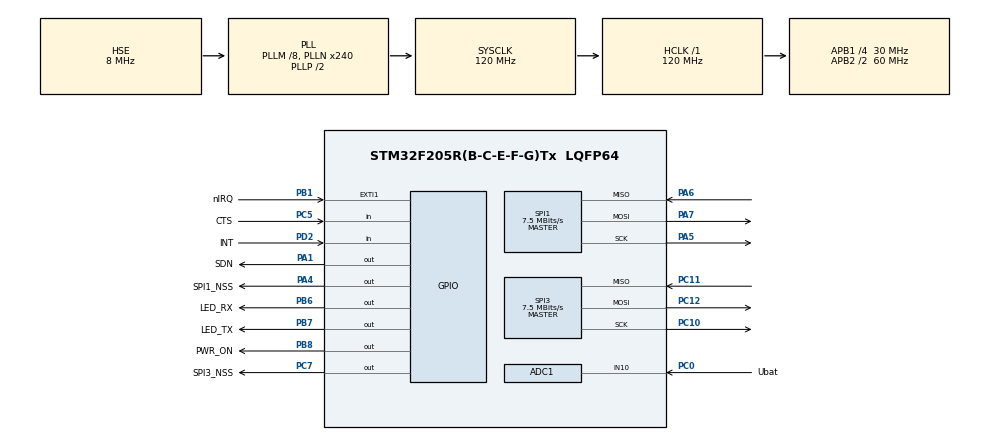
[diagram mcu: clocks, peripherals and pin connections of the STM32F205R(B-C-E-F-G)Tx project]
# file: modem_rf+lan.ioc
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ADC1.Channel-0\#ChannelRegularConversion=ADC_CHANNEL_10
ADC1.NbrOfConversionFlag=1
ADC1.Rank-0\#ChannelRegularConversion=1
ADC1.SamplingTime-0\#ChannelRegularConversion=ADC_SAMPLETIME_3CYCLES
ADC1.master=1
FREERTOS.Tasks01=defaultTask,0,128,StartDefaultTask,Default,NULL,Dynamic,NULL,NULL;Task_UdpTx,0,128,StartTask02,Default,NULL,Dynamic,NULL,NULL
Mcu.Family=STM32F2
Mcu.Name=STM32F205R(B-C-E-F-G)Tx
Mcu.Package=LQFP64
NVIC.EXTI1_IRQn=true\:1\:0\:true\:false\:true\:false\:true\:true
NVIC.PriorityGroup=NVIC_PRIORITYGROUP_4
NVIC.TIM3_IRQn=true\:0\:0\:false\:false\:true\:false\:false\:true
NVIC.TimeBase=TIM3_IRQn
NVIC.TimeBaseIP=TIM3
PA1.GPIO_Label=SDN
PA1.GPIO_Speed=GPIO_SPEED_FREQ_VERY_HIGH
PA1.Signal=GPIO_Output
PA13.Mode=Trace_Asynchronous_SW
PA13.Signal=SYS_JTMS-SWDIO
PA14.Mode=Trace_Asynchronous_SW
PA14.Signal=SYS_JTCK-SWCLK
PA4.GPIO_Label=SPI1_NSS
PA4.GPIO_Speed=GPIO_SPEED_FREQ_VERY_HIGH
PA4.Signal=GPIO_Output
PA5.Mode=Full_Duplex_Master
PA5.Signal=SPI1_SCK
PA6.Mode=Full_Duplex_Master
PA6.Signal=SPI1_MISO
PA7.Mode=Full_Duplex_Master
PA7.Signal=SPI1_MOSI
PB1.GPIO_Label=nIRQ
PB1.GPIO_ModeDefaultEXTI=GPIO_MODE_IT_FALLING
PB1.Signal=GPXTI1
PB3.Mode=Trace_Asynchronous_SW
PB3.Signal=SYS_JTDO-SWO
PB6.GPIO_Label=LED_RX
PB6.Signal=GPIO_Output
PB7.GPIO_Label=LED_TX
PB7.Signal=GPIO_Output
PB8.GPIO_Label=PWR_ON
PB8.GPIO_PuPd=GPIO_PULLUP
PB8.GPIO_Speed=GPIO_SPEED_FREQ_LOW
PB8.PinState=GPIO_PIN_SET
PB8.Signal=GPIO_Output
PC0.GPIO_Label=Ubat
PC0.Signal=ADCx_IN10
PC10.Mode=Full_Duplex_Master
PC10.Signal=SPI3_SCK
PC11.Mode=Full_Duplex_Master
PC11.Signal=SPI3_MISO
PC12.Mode=Full_Duplex_Master
PC12.Signal=SPI3_MOSI
PC5.GPIO_Label=CTS
PC5.Signal=GPIO_Input
PC7.GPIO_Label=SPI3_NSS
PC7.GPIO_Speed=GPIO_SPEED_FREQ_VERY_HIGH
PC7.Signal=GPIO_Output
PD2.GPIO_Label=INT
PD2.Signal=GPIO_Input
PH0-OSC_IN.Mode=HSE-External-Oscillator
PH0-OSC_IN.Signal=RCC_OSC_IN
PH1-OSC_OUT.Mode=HSE-External-Oscillator
PH1-OSC_OUT.Signal=RCC_OSC_OUT
ProjectManager.HeapSize=0x200
ProjectManager.StackSize=0x400
ProjectManager.TargetToolchain=SW4STM32
RCC.48MHZClocksFreq_Value=48000000
RCC.AHBFreq_Value=120000000
RCC.APB1CLKDivider=RCC_HCLK_DIV4
RCC.APB1Freq_Value=30000000
RCC.APB1TimFreq_Value=60000000
RCC.APB2CLKDivider=RCC_HCLK_DIV2
RCC.APB2Freq_Value=60000000
RCC.APB2TimFreq_Value=120000000
RCC.CortexFreq_Value=120000000
RCC.HCLKFreq_Value=120000000
RCC.HSE_VALUE=8000000
RCC.HSI_VALUE=16000000
RCC.LSE_VALUE=32768
RCC.PLLM=8
RCC.PLLN=240
RCC.PLLQ=5
RCC.PLLSourceVirtual=RCC_PLLSOURCE_HSE
RCC.SYSCLKFreq_VALUE=120000000
RCC.SYSCLKSource=RCC_SYSCLKSOURCE_PLLCLK
RCC.VCOOutputFreq_Value=240000000
SH.ADCx_IN10.0=ADC1_IN10,IN10
SPI1.BaudRatePrescaler=SPI_BAUDRATEPRESCALER_8
SPI1.CalculateBaudRate=7.5 MBits/s
SPI1.Direction=SPI_DIRECTION_2LINES
SPI1.Mode=SPI_MODE_MASTER
SPI1.VirtualType=VM_MASTER
SPI3.BaudRatePrescaler=SPI_BAUDRATEPRESCALER_4
SPI3.CalculateBaudRate=7.5 MBits/s
SPI3.Direction=SPI_DIRECTION_2LINES
SPI3.Mode=SPI_MODE_MASTER
SPI3.VirtualType=VM_MASTER
VP_FREERTOS_VS_CMSIS_V1.Mode=CMSIS_V1
VP_RNG_VS_RNG.Mode=RNG_Activate
VP_SYS_VS_tim3.Mode=TIM3
board=custom

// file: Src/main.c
/* USER CODE BEGIN Header */
/**
  ******************************************************************************
  * @file           : main.c
  * @brief          : Main program body
  ******************************************************************************
  * @attention
  *
  * <h2><center>&copy; Copyright (c) 2020 STMicroelectronics.
  * All rights reserved.</center></h2>
  *
  * This software component is licensed by ST under Ultimate Liberty license
  * SLA0044, the "License"; You may not use this file except in compliance with
  * the License. You may obtain a copy of the License at:
  *                             www.st.com/SLA0044
  *
  ******************************************************************************
  */
/* USER CODE END Header */

#include "main.h"
#include "cmsis_os.h"
#include "adc.h"
#include "rng.h"
#include "spi.h"
#include "gpio.h"

/* USER CODE BEGIN Includes */
#include <string.h>
#include <stdlib.h>
#include "stdio.h"

#include "si4463.h"
#include "enc28j60.h"
#include "lan.h"
#include "delay_dwt.h"
/* USER CODE END Includes */

/* USER CODE BEGIN PTD */

RNG_HandleTypeDef hrng;
si4463_t si4463;

/* USER CODE END PTD */

/* USER CODE BEGIN PV */
/* si4463 */
uint8_t incomingBuffer[RADIO_CONFIGURATION_DATA_RADIO_PACKET_LENGTH];
uint8_t outgoingBuffer[RADIO_CONFIGURATION_DATA_RADIO_PACKET_LENGTH];

int16_t curr_rssi = 0x00;
uint8_t check_module_flag = 0;

uint16_t length_packet = 0;

float c_temp = 0.0, v_bat = 0.0;

/* enc28j60 */
uint8_t send_buf[512];
uint8_t send_buf2[512];

uint16_t ADC_Val[2] = { 0 };
/* USER CODE END PV */

void SystemClock_Config(void);
void MX_FREERTOS_Init(void);

int main(void)
{

  /* MCU Configuration--------------------------------------------------------*/

  /* Reset of all peripherals, Initializes the Flash interface and the Systick. */
  HAL_Init();

  /* Configure the system clock */
  SystemClock_Config();

  /* USER CODE BEGIN SysInit */
  DWT_Init();

  /* USER CODE END SysInit */

  /* Initialize all configured peripherals */
  MX_GPIO_Init();
  MX_ADC1_Init();
  MX_RNG_Init();
  MX_SPI1_Init();
  MX_SPI3_Init();
  /* USER CODE BEGIN 2 */

  /* Assign functions */
  si4463.IsClearToSend = SI4463_IsCTS;
  si4463.WriteRead = SI4463_WriteRead;
  si4463.SPIRead = SI4463_SPIRead;
  si4463.SPITransmit = SI4463_SPITransmit;
  si4463.Select = SI4463_Select;
  si4463.Deselect = SI4463_Deselect;
  si4463.SetShutdown = SI4463_SetShutdown;
  si4463.ClearShutdown = SI4463_ClearShutdown;
  si4463.DelayMs = DWT_Delay_ms;
  si4463.DelayUs = DWT_Delay_us;

  /* Disable interrupt pin for init Si4463 */
  HAL_NVIC_DisableIRQ(EXTI1_IRQn);

  /* Check Device */
  SI4463_CheckModule();
  /* Init Si4463 with structure */
  SI4463_Init(&si4463);
  //SI4463_IrCal_Manual(&si4463, 1, 2);
  SI4463_SetTxPower(&si4463,PaPwr100mW);
  /* Clear RX FIFO before starting RX packets */
  SI4463_ClearRxFifo(&si4463);
  /* Start RX mode */
  SI4463_StartRx(&si4463, 0, false, false, false);
  /* Clear interrupts after enabling interrupt pin.
   * Without it may be situation when interrupt is asserted but pin not cleared.*/
  SI4463_ClearInterrupts(&si4463);
  /* Enable interrupt pin and */
  HAL_NVIC_EnableIRQ(EXTI1_IRQn);
  /* Initialize LAN */
  lan_init();

  /* USER CODE END 2 */

  /* Call init function for freertos objects (in freertos.c) */
  MX_FREERTOS_Init();
  /* Start scheduler */
  osKernelStart();

  /* We should never get here as control is now taken by the scheduler */
  /* Infinite loop */
  while (1)
  {

  }
}

void SystemClock_Config(void)
{
  RCC_OscInitTypeDef RCC_OscInitStruct = {0};
  RCC_ClkInitTypeDef RCC_ClkInitStruct = {0};

  /** Initializes the CPU, AHB and APB busses clocks
  */
  RCC_OscInitStruct.OscillatorType = RCC_OSCILLATORTYPE_HSE;
  RCC_OscInitStruct.HSEState = RCC_HSE_ON;
  RCC_OscInitStruct.PLL.PLLState = RCC_PLL_ON;
  RCC_OscInitStruct.PLL.PLLSource = RCC_PLLSOURCE_HSE;
  RCC_OscInitStruct.PLL.PLLM = 8;
  RCC_OscInitStruct.PLL.PLLN = 240;
  RCC_OscInitStruct.PLL.PLLP = RCC_PLLP_DIV2;
  RCC_OscInitStruct.PLL.PLLQ = 5;
  if (HAL_RCC_OscConfig(&RCC_OscInitStruct) != HAL_OK)
  {
    Error_Handler();
  }
  /** Initializes the CPU, AHB and APB busses clocks
  */
  RCC_ClkInitStruct.ClockType = RCC_CLOCKTYPE_HCLK|RCC_CLOCKTYPE_SYSCLK
                              |RCC_CLOCKTYPE_PCLK1|RCC_CLOCKTYPE_PCLK2;
  RCC_ClkInitStruct.SYSCLKSource = RCC_SYSCLKSOURCE_PLLCLK;
  RCC_ClkInitStruct.AHBCLKDivider = RCC_SYSCLK_DIV1;
  RCC_ClkInitStruct.APB1CLKDivider = RCC_HCLK_DIV4;
  RCC_ClkInitStruct.APB2CLKDivider = RCC_HCLK_DIV2;

  if (HAL_RCC_ClockConfig(&RCC_ClkInitStruct, FLASH_LATENCY_3) != HAL_OK)
  {
    Error_Handler();
  }
}

/* USER CODE BEGIN 4 */
void HAL_GPIO_EXTI_Callback(uint16_t GPIO_Pin)
{
  /* Prevent unused argument(s) compilation warning */
  UNUSED(GPIO_Pin);

  if(GPIO_Pin== GPIO_PIN_1)
  {

	  /* Clear incoming buffer */
	  memset(incomingBuffer, 0x00, RADIO_CONFIGURATION_DATA_RADIO_PACKET_LENGTH);

	  /* Get interrupts and work with it */
	  SI4463_GetInterrupts(&si4463);

	  /* Handling PH interrupts */
	  if (si4463.interrupts.filterMatch)
	  {
		  /* Handling this interrupt here */
		  /* Following instruction only for add breakpoints. May be deleted */
		  si4463.interrupts.filterMatch = false;
	  }
	  if (si4463.interrupts.filterMiss)
	  {
		  /* Handling this interrupt here */
		  /* Following instruction only for add breakpoints. May be deleted */
		  si4463.interrupts.filterMiss = false;
	  }
	  if (si4463.interrupts.packetSent)
	  {
		  /* Handling this interrupt here */
		  /* Clear TX FIFO */
		  SI4463_ClearTxFifo(&si4463);

		  /* Re-arm StartRX */
		  SI4463_StartRx(&si4463, 0, false, false,false);

		  /*Toggle led for indication*/
		  HAL_GPIO_WritePin(LED_TX_GPIO_Port,LED_TX_Pin,GPIO_PIN_SET);

		  /* Following instruction only for add breakpoints. May be deleted */
		  si4463.interrupts.packetSent = false;
	  }
	  if (si4463.interrupts.packetRx)
	  {
		 /* Handling this interrupt here */
		 /* Get FIFO data */
		 SI4463_ReadRxFifo(&si4463, incomingBuffer, RADIO_CONFIGURATION_DATA_RADIO_PACKET_LENGTH);

		 length_packet = SI4463_GetPacketInfo(&si4463,PKT_FIELD_2_LENGTH,63,0);
		 //SI4463_Get_PH_Status(&si4463, NOTHING);
		 send_to_udp(incomingBuffer,RADIO_CONFIGURATION_DATA_RADIO_PACKET_LENGTH,IP_ADDR_DEST);
		 /* Clear RX FIFO */
		 SI4463_ClearRxFifo(&si4463);
		 /* Start RX again.
		 * It need because after successful receive a packet the chip change
		 * state to READY.
		 * There is re-armed mode for StartRx but it not correctly working */
		 SI4463_StartRx(&si4463, 0, false, false, false);

		 HAL_GPIO_WritePin(LED_RX_GPIO_Port, LED_RX_Pin,GPIO_PIN_SET);

		 si4463.interrupts.packetRx = false;
	  }
	  if (si4463.interrupts.crcError)
	  {
		  /* Handling this interrupt here */

		  /* Following instruction only for add breakpoints. May be deleted */
		  si4463.interrupts.crcError = false;
	  }
	  if (si4463.interrupts.txFifoAlmostEmpty)
	  {
		  /* Handling this interrupt here */

		  /* Following instruction only for add breakpoints. May be deleted */
		  si4463.interrupts.txFifoAlmostEmpty = false;
	  }
	  if (si4463.interrupts.rxFifoAlmostFull)
	  {
		  /* Handling this interrupt here */

		  /* Following instruction only for add breakpoints. May be deleted */
		  si4463.interrupts.rxFifoAlmostFull = false;
	  }

	  /* Handling Modem interrupts */
	  if (si4463.interrupts.postambleDetect)
	  {
		  /* Handling this interrupt here */
		  /* Following instruction only for add breakpoints. May be deleted */
		  si4463.interrupts.postambleDetect = false;
	  }
	  if (si4463.interrupts.rssiJump)
	  {
		  /* Handling this interrupt here */
		  /* Following instruction only for add breakpoints. May be deleted */
		  si4463.interrupts.rssiJump = false;
	  }
	  if (si4463.interrupts.rssi)
	  {
		  /* Handling this interrupt here */
		  /* Following instruction only for add breakpoints. May be deleted */
		  si4463.interrupts.rssi = false;
	  }
	  if (si4463.interrupts.invalidPreamble)
	  {
		  /* Handling this interrupt here */
		  /* Following instruction only for add breakpoints. May be deleted */
		  si4463.interrupts.invalidPreamble = false;
	  }
	  if (si4463.interrupts.preambleDetect)
	  {
		  /* Handling this interrupt here */
		  /* Following instruction only for add breakpoints. May be deleted */
		  si4463.interrupts.preambleDetect = false;
	  }
	  if (si4463.interrupts.syncDetect)
	  {
		  /* Handling this interrupt here */
		  /* Following instruction only for add breakpoints. May be deleted */
		  si4463.interrupts.syncDetect = false;
	  }

	  if (si4463.interrupts.chipReady)
	  {
		  /* Handling this interrupt here */
		  SI4463_GetChipStatus(&si4463);
		  /* Following instruction only for add breakpoints. May be deleted */
		  si4463.interrupts.chipReady = false;
	  }
	  /* Clear All interrupts before exit */
	  SI4463_ClearAllInterrupts(&si4463);
  }

}

uint8_t SI4463_IsCTS(void)
{
	if((CTS_GPIO_Port->IDR & CTS_Pin) != (uint32_t)GPIO_PIN_RESET)
	{
		return 1;
	}
	else
	{
		return 0;
	}
}

void SI4463_WriteRead(const uint8_t * pTxData, uint8_t * pRxData, const uint16_t sizeTxData)
{
	HAL_SPI_TransmitReceive(&hspi1,(uint8_t*) pTxData, pRxData, sizeTxData, 100);
}

void SI4463_SPIRead(const uint8_t * pRxData, const uint16_t sizeRxData)
{
	HAL_SPI_Receive(&hspi1, (uint8_t*) pRxData, sizeRxData, 100);
}

void SI4463_SPITransmit(const uint8_t * pTxData, const uint16_t sizeTxData)
{
	HAL_SPI_Transmit(&hspi1, (uint8_t*) pTxData, sizeTxData, 100);
}

void SI4463_SetShutdown(void)
{
	HAL_GPIO_WritePin(SDN_GPIO_Port, SDN_Pin, GPIO_PIN_SET);
}

void SI4463_ClearShutdown(void)
{
	HAL_GPIO_WritePin(SDN_GPIO_Port, SDN_Pin, GPIO_PIN_RESET);
}

void SI4463_Select(void)
{
	SPI1_NSS_GPIO_Port->BSRR = (uint32_t)SPI1_NSS_Pin << 16U;
	DWT_Delay_us(10);
}

void SI4463_Deselect(void)
{
	SPI1_NSS_GPIO_Port->BSRR = SPI1_NSS_Pin;
	DWT_Delay_us(10);
}

uint16_t SI4463_CheckModule(void)
{
	uint8_t i;
	if(ADC_Get_Vbat() > 700) // if low battery
	{
		if(SI4463_CheckDevice(&si4463) == SI4463_OK)
		{
			for(i=0; i<6; i++)
			{
				HAL_GPIO_TogglePin(LED_TX_GPIO_Port,LED_TX_Pin);
				HAL_GPIO_TogglePin(LED_RX_GPIO_Port,LED_RX_Pin);
				DWT_Delay_ms(100);
			}
		}
		else
		{
			for(i=0; i<6; i++)
			{
				HAL_GPIO_TogglePin(LED_RX_GPIO_Port,LED_RX_Pin);
				DWT_Delay_ms(100);
			}
			return 0;
		}
	}
	else
	{
		check_module_flag |= (1<<7);
		for(i=0; i<60; i++)
		{
			if(0 != (check_module_flag & (1<<7)) )
			{
				HAL_GPIO_WritePin(LED_TX_GPIO_Port,LED_TX_Pin,GPIO_PIN_RESET);
				break;
			}
		HAL_GPIO_TogglePin(LED_TX_GPIO_Port,LED_TX_Pin);
		DWT_Delay_ms(500);
		}
		return 0;
	}
	return 1;
}

uint8_t Check_CMD(void)
{

	uint16_t U3v3 = 0;
	uint16_t c_temp = 0;
	uint16_t Ubat = 0;

	uint8_t ret = clearFlag;

	char str[10];

	switch (flagModemCmd)
	{

		case cmdGetRemoteTemp :

			c_temp = ((2194*SI4463_GetTempAdc(&si4463)) / 1000) - 2930;
			sprintf(str, "%d\n", c_temp / 10);
			//SI4463_Transmit(&si4463,(uint8_t*)(&str), strlen(str));

			SI4463_GetChipStatus(&si4463);
			SI4463_GetInterrupts(&si4463);

			ret = flagModemCmd;
			flagModemCmd = clearFlag;

			break;

		case cmdGetRemote3v3 :
			for(uint8_t i=0; i<10; i++)
			{
				U3v3 += (30*SI4463_GetBatAdc(&si4463))/128;
			}
			U3v3 = U3v3/10;
			sprintf(str, "%d.%.2d\n", U3v3 / 100, U3v3 % 100);
			//SI4463_Transmit(&si4463, (uint8_t*)(&str), strlen(str));

			SI4463_GetChipStatus(&si4463);
			SI4463_GetInterrupts(&si4463);

			ret = flagModemCmd;
			flagModemCmd = clearFlag;
			break;

		case cmdGetRemoteBat :

			Ubat = ADC_Get_Vbat();
			sprintf(str, "%d.%d\n", Ubat / 100, Ubat % 100);
			//SI4463_Transmit(&si4463, (uint8_t*)(&str), strlen(str));

			SI4463_GetChipStatus(&si4463);
			SI4463_GetInterrupts(&si4463);

			ret = flagModemCmd;
			flagModemCmd = clearFlag;
			break;

		case cmdTurnRight :
			break;

		case cmdTurnleft :
			break;

		case cmdGOForward :
			break;

		case cmdGoBack :
			break;

		case cmdSetTxPower :

			SI4463_SetTxPower(&si4463,incomingBuffer[TxPWR]);
			flagModemCmd = clearFlag;
			break;

		default :
			break;
	}
	return ret;
}

uint8_t send_to_udp(uint8_t *packet, uint8_t len, uint32_t dest_ip)
{
    eth_frame_t *frame = (void*)net_buf;
    ip_packet_t *ip = (void*)(frame->data);
    udp_packet_t *udp = (void*)(ip->data);

    ip->to_addr = dest_ip;
    udp->to_port = DEST_PORT;
    udp->from_port = LOCAL_PORT;
    memset(udp->data, 0, len);
    memcpy(udp->data,packet, len);
    udp_send(frame, len);
    return 1;
}

/* USER CODE END 4 */

 /**
  * @brief  Period elapsed callback in non blocking mode
  * @note   This function is called  when TIM3 interrupt took place, inside
  * HAL_TIM_IRQHandler(). It makes a direct call to HAL_IncTick() to increment
  * a global variable "uwTick" used as application time base.
  * @param  htim : TIM handle
  * @retval None
  */
void HAL_TIM_PeriodElapsedCallback(TIM_HandleTypeDef *htim)
{
  if (htim->Instance == TIM3) {
    HAL_IncTick();
  }
}

void Error_Handler(void)
{
}

/************************ (C) COPYRIGHT STMicroelectronics *****END OF FILE****/

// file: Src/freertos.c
/* USER CODE BEGIN Header */
/**
  ******************************************************************************
  * File Name          : freertos.c
  * Description        : Code for freertos applications
  ******************************************************************************
  * @attention
  *
  * <h2><center>&copy; Copyright (c) 2020 STMicroelectronics.
  * All rights reserved.</center></h2>
  *
  * This software component is licensed by ST under Ultimate Liberty license
  * SLA0044, the "License"; You may not use this file except in compliance with
  * the License. You may obtain a copy of the License at:
  *                             www.st.com/SLA0044
  *
  ******************************************************************************
  */
/* USER CODE END Header */

#include "FreeRTOS.h"
#include "task.h"
#include "main.h"
#include "cmsis_os.h"

/* USER CODE BEGIN Includes */
#include "si4463.h"
#include "delay_dwt.h"
#include "stdio.h"
#include "string.h"
#include "adc.h"
#include "lan.h"
/* USER CODE END Includes */

/* USER CODE BEGIN PTD */

RNG_HandleTypeDef hrng;
si4463_t si4463;
/* USER CODE END PTD */

/* USER CODE BEGIN PM */

void udp_packet(eth_frame_t *frame, uint16_t len)
{
	uint8_t dataUDP[len];
	memset(dataUDP, 0x00, len);
    ip_packet_t *ip = (void*)(frame->data);
    udp_packet_t *udp = (void*)(ip->data);

    if(udp->to_port == htons(8077))
    {
    	 if(len)
    	 {
    		memcpy(dataUDP,udp->data, len);
    		flagModemCmd = cmdTxHop;
    		if(flagModemCmd != cmdTxHop)
    		{
    		//	SI4463_Transmit(&si4463, (uint8_t)HAL_RNG_GetRandomNumber(&hrng)%10, (uint8_t*)&dataUDP,60);
    		}
    		else
    		{
    			SI4463_Transmit(&si4463, 0x00, (uint8_t*)(&dataUDP),0);
    		}
    	 }

    }
}

/* USER CODE END PM */

/* USER CODE BEGIN Variables */
uint8_t outgoingBuffer[RADIO_CONFIGURATION_DATA_RADIO_PACKET_LENGTH];

/* USER CODE END Variables */
osThreadId defaultTaskHandle;
osThreadId Task_UdpTxHandle;

void StartDefaultTask(void const * argument);
void StartTask02(void const * argument);

void MX_FREERTOS_Init(void); /* (MISRA C 2004 rule 8.1) */

/* GetIdleTaskMemory prototype (linked to static allocation support) */
void vApplicationGetIdleTaskMemory( StaticTask_t **ppxIdleTaskTCBBuffer, StackType_t **ppxIdleTaskStackBuffer, uint32_t *pulIdleTaskStackSize );

/* USER CODE BEGIN GET_IDLE_TASK_MEMORY */
static StaticTask_t xIdleTaskTCBBuffer;
static StackType_t xIdleStack[configMINIMAL_STACK_SIZE];

void vApplicationGetIdleTaskMemory( StaticTask_t **ppxIdleTaskTCBBuffer, StackType_t **ppxIdleTaskStackBuffer, uint32_t *pulIdleTaskStackSize )
{
  *ppxIdleTaskTCBBuffer = &xIdleTaskTCBBuffer;
  *ppxIdleTaskStackBuffer = &xIdleStack[0];
  *pulIdleTaskStackSize = configMINIMAL_STACK_SIZE;
  /* place for user code */
}
/* USER CODE END GET_IDLE_TASK_MEMORY */

void MX_FREERTOS_Init(void) {

  /* Create the thread(s) */
  /* definition and creation of defaultTask */
  osThreadDef(defaultTask, StartDefaultTask, osPriorityNormal, 0, 128);
  defaultTaskHandle = osThreadCreate(osThread(defaultTask), NULL);

  /* definition and creation of Task_UdpTx */
  osThreadDef(Task_UdpTx, StartTask02, osPriorityNormal, 0, 128);
  Task_UdpTxHandle = osThreadCreate(osThread(Task_UdpTx), NULL);

}

void StartDefaultTask(void const * argument)
{
  /* USER CODE BEGIN StartDefaultTask */
  /* Infinite loop */
  for(;;)
  {
    osDelay(10);

    HAL_GPIO_WritePin(LED_TX_GPIO_Port,LED_TX_Pin,GPIO_PIN_RESET);
    HAL_GPIO_WritePin(LED_RX_GPIO_Port,LED_RX_Pin,GPIO_PIN_RESET);

    lan_poll();
  }
  /* USER CODE END StartDefaultTask */
}

void StartTask02(void const * argument)
{
  /* USER CODE BEGIN StartTask02 */
  /* Infinite loop */
  for(;;)
  {
/*
	  outgoingBuffer[0] = 'h';
	  outgoingBuffer[1] = 'e';
	  outgoingBuffer[2] = 'l';
	  outgoingBuffer[3] = 'o';
	  outgoingBuffer[4] = 'o';
	  outgoingBuffer[5] = ' ';
	  outgoingBuffer[6] = 'p';
	  outgoingBuffer[7] = 'e';
	  outgoingBuffer[8] = 'o';
	  outgoingBuffer[9] = 'p';
	  outgoingBuffer[10] = 'l';
	  outgoingBuffer[11] = 'e';
	  outgoingBuffer[12] = ' ';
	  outgoingBuffer[13] = 'p';
	  outgoingBuffer[14] = 'r';
	  outgoingBuffer[15] = 'u';
	  outgoingBuffer[16] = 'v';
	  outgoingBuffer[17] = 'i';
	  outgoingBuffer[18] = 't';
	  outgoingBuffer[19] = ' ';
	  outgoingBuffer[20] = 'U';
	  outgoingBuffer[21] = 'K';
	  outgoingBuffer[22] = 'R';
	  outgoingBuffer[23] = 'A';
	  outgoingBuffer[24] = 'I';
	  outgoingBuffer[25] = 'N';
	  outgoingBuffer[26] = 'E';
	  outgoingBuffer[27] = ' ';
	  outgoingBuffer[28] = 'L';
	  outgoingBuffer[29] = 'O';
	  outgoingBuffer[31] = 'L';

	  outgoingBuffer[32] = '1';
	  outgoingBuffer[33] = '2';
	  outgoingBuffer[34] = '3';
	  outgoingBuffer[35] = '4';
	  outgoingBuffer[36] = '5';
	  outgoingBuffer[37] = '6';
	  outgoingBuffer[38] = '7';
	  outgoingBuffer[39] = '8';
	  outgoingBuffer[40] = '9';
	  outgoingBuffer[41] = '10';
	  outgoingBuffer[42] = '11';
	  outgoingBuffer[43] = '12';
	  outgoingBuffer[44] = '13';
	  outgoingBuffer[45] = '14';
	  outgoingBuffer[46] = '15';
	  outgoingBuffer[47] = '16';
	  outgoingBuffer[48] = '17';
	  outgoingBuffer[49] = '18';
	  outgoingBuffer[50] = '19';
	  outgoingBuffer[51] = '20';
	  outgoingBuffer[52] = '21';
	  outgoingBuffer[53] = '22';
	  outgoingBuffer[54] = '23';
	  outgoingBuffer[55] = '24';
	  outgoingBuffer[56] = '25';
	  outgoingBuffer[57] = '26';
	  outgoingBuffer[58] = '27';
	  outgoingBuffer[59] = '28';
	  outgoingBuffer[60] = '29';
	  outgoingBuffer[61] = 'O';
	  outgoingBuffer[62] = 'L';
	  outgoingBuffer[63] = ' ';
*/
	  //SI4463_Transmit(&si4463, 0x00, (uint8_t*)outgoingBuffer, 64);

	  Check_CMD();
	  osDelay(100);
  }
  /* USER CODE END StartTask02 */
}

/************************ (C) COPYRIGHT STMicroelectronics *****END OF FILE****/
